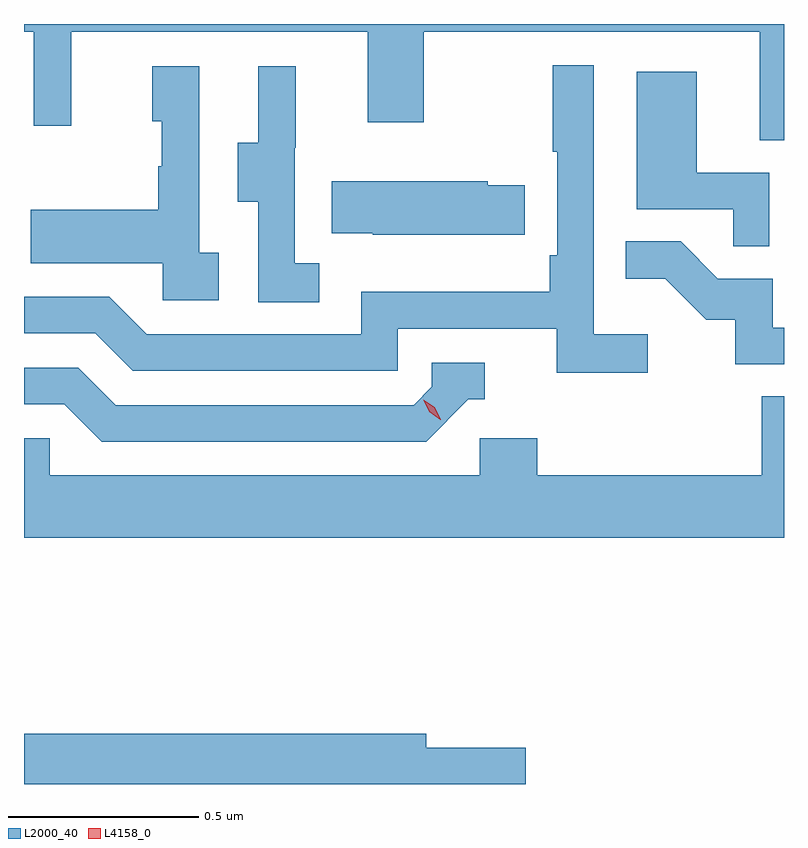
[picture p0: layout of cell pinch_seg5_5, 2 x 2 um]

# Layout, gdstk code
import gdstk
lib = gdstk.Library(unit=1e-6, precision=1e-09)
def P(c, l, *ps):  # polygons
    for p in ps: c.add(gdstk.Polygon(p, *l))
L2000_40 = (2000, 40)
L4158_0 = (4158, 0)

pinch_seg5_5 = lib.new_cell('pinch_seg5_5')
P(pinch_seg5_5, L2000_40, [(1135.443,912.724),(1133.443,912.724),(1133.443,912.704),(1133.469,912.704),(1133.469,912.456),(1133.567,912.456),(1133.567,912.704),(1134.347,912.704),(1134.347,912.465),(1134.495,912.465),(1134.495,912.704),(1135.379,912.704),(1135.379,912.418),(1135.443,912.418)],
  [(1135.084,911.908),(1134.942,911.908),(1134.942,912.616),(1134.834,912.616),(1134.834,912.388),(1134.846,912.388),(1134.846,912.115),(1134.826,912.115),(1134.826,912.019),(1134.33,912.019),(1134.33,911.907),(1133.766,911.907),(1133.667,912.006),(1133.443,912.006),(1133.443,911.91),(1133.63,911.91),(1133.729,911.811),(1134.426,911.811),(1134.426,911.922),(1134.845,911.922),(1134.845,911.806),(1135.084,911.806)],
  [(1133.956,912.122),(1133.904,912.122),(1133.904,912.613),(1133.78,912.613),(1133.78,912.468),(1133.806,912.468),(1133.806,912.35),(1133.796,912.35),(1133.796,912.235),(1133.461,912.235),(1133.461,912.095),(1133.808,912.095),(1133.808,911.997),(1133.956,911.997)],
  [(1134.22,912.095),(1134.156,912.095),(1134.156,912.399),(1134.158,912.399),(1134.158,912.613),(1134.059,912.613),(1134.059,912.411),(1134.005,912.411),(1134.005,912.256),(1134.06,912.256),(1134.06,911.992),(1134.22,911.992)],
  [(1135.404,912.333),(1135.213,912.333),(1135.213,912.598),(1135.055,912.598),(1135.055,912.237),(1135.309,912.237),(1135.309,912.139),(1135.404,912.139)],
  [(1134.761,912.3),(1134.663,912.3),(1134.663,912.31),(1134.253,912.31),(1134.253,912.173),(1134.361,912.173),(1134.361,912.17),(1134.761,912.17)],
  [(1135.443,911.925),(1135.413,911.925),(1135.413,912.054),(1135.269,912.054),(1135.171,912.152),(1135.027,912.152),(1135.027,912.053),(1135.131,912.053),(1135.238,911.946),(1135.315,911.946),(1135.315,911.829),(1135.443,911.829)],
  [(1134.612,911.736),(1134.655,911.736),(1134.655,911.832),(1134.516,911.832),(1134.516,911.769),(1134.468,911.721),(1133.685,911.721),(1133.586,911.82),(1133.443,911.82),(1133.443,911.724),(1133.549,911.724),(1133.648,911.625),(1134.501,911.625)],
  [(1135.443,911.744),(1135.385,911.744),(1135.385,911.536),(1134.794,911.536),(1134.794,911.634),(1134.642,911.634),(1134.642,911.536),(1133.511,911.536),(1133.511,911.634),(1133.443,911.634),(1133.443,911.372),(1135.443,911.372)],
  [(1134.763,910.82),(1134.502,910.82),(1134.502,910.856),(1133.443,910.856),(1133.443,910.724),(1134.763,910.724)])
P(pinch_seg5_5, L4158_0, [(1134.539,911.683),(1134.509,911.703),(1134.493,911.735),(1134.493,911.735),(1134.493,911.735),(1134.524,911.716),(1134.54,911.684),(1134.54,911.683)])

lib.write_gds('pinch_seg5_5.gds')
